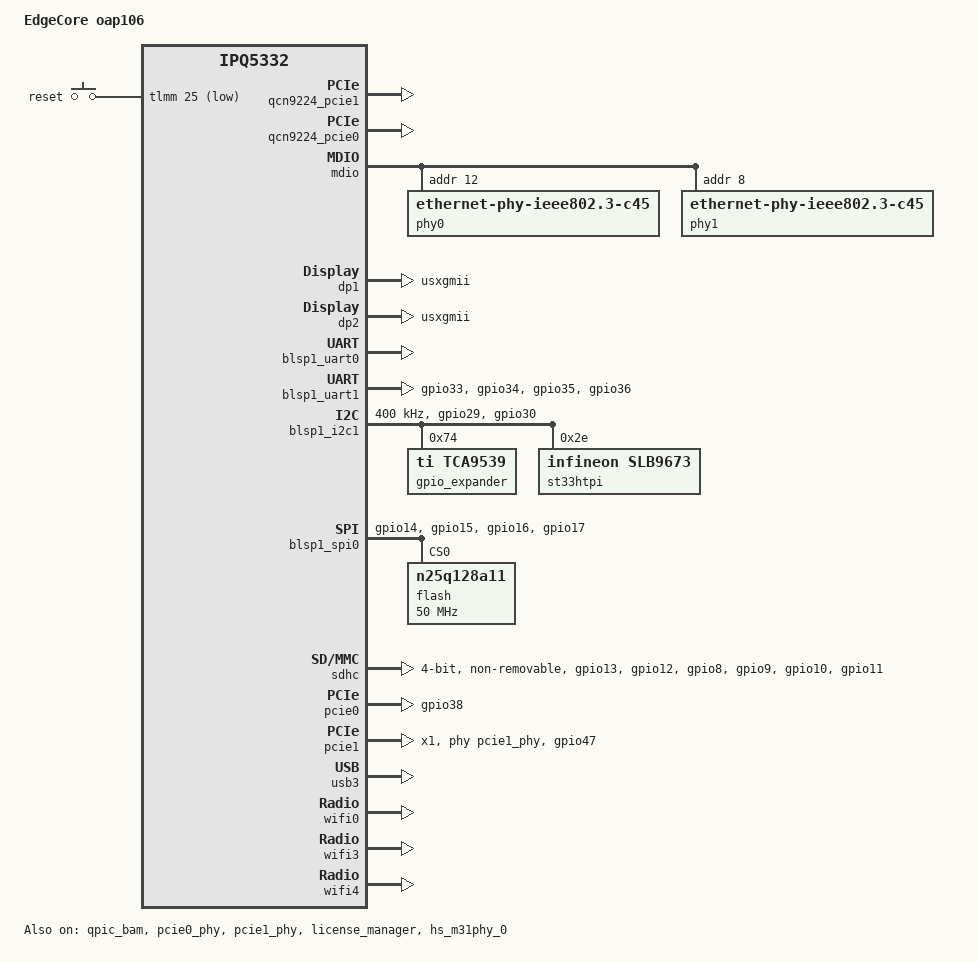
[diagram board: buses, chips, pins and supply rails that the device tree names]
// SPDX-License-Identifier: (GPL-2.0+ OR BSD-3-Clause)
/*
 * IPQ5332 RDP480 board device tree source
 *
 * Copyright (c) 2020-2021 The Linux Foundation. All rights reserved.
 * Copyright (c) 2022-2025 Qualcomm Innovation Center, Inc. All rights reserved.
 */

/dts-v1/;

#include "ipq5332.dtsi"
#include <dt-bindings/gpio/gpio.h>
#include <dt-bindings/input/input.h>
#include <dt-bindings/leds/common.h>


/ {
	model = "EdgeCore oap106";
	compatible = "edgecore,oap106", "qcom,ipq5332-ap-mi01.13", "qcom,ipq5332";

	/*   Layout for IPQ5332 + QCN9224 + QCN9224 + QCN9160
	 * +==========+==============+========================+
	 * |         |              |                         |
	 * |  Region | Start Offset |          Size           |
	 * |         |              |                         |
	 * +---------+--------------+-------------------------+
	 * |   Q6    |              |                         |
	 * |  code/  |  0x4A900000  |          27MB           |
	 * |  data   |              |                         |
	 * +---------+--------------+-------------------------+
	 * | IPQ5332 |              |                         |
	 * |  data   |  0x4C400000  |          21MB           |
	 * +---------+--------------+-------------------------+
	 * | IPQ5332 |              |                         |
	 * | M3 Dump |  0x4D900000  |           1MB           |
	 * +---------+--------------+-------------------------+
	 * | IPQ5332 |              |                         |
	 * |  QDSS   |  0x4DA00000  |           1MB           |
	 * +---------+--------------+-------------------------+
	 * | IPQ5332 |              |                         |
	 * |  CALDB  |  0x4DB00000  |           5MB           |
	 * +---------+--------------+-------------------------+
	 * |QCN6432_1|              |                         |
	 * |  data   |  0x4E000000  |          21MB           |
	 * +---------+--------------+-------------------------+
	 * |QCN6432_1|              |                         |
	 * | M3 Dump |  0x4F500000  |           1MB           |
	 * +---------+--------------+-------------------------+
	 * |QCN6432_1|              |                         |
	 * |  QDSS   |  0x4F600000  |           1MB           |
	 * +---------+--------------+-------------------------+
	 * |QCN6432_1|              |                         |
	 * |  CALDB  |  0x4F700000  |           5MB           |
	 * +---------+--------------+-------------------------+
	 * | QCN9160 |              |                         |
	 * |  data   |  0x4FC00000  |          14MB           |
	 * +---------+--------------+-------------------------+
	 * | QCN9160 |              |                         |
	 * | M3 Dump |  0x50A00000  |           1MB           |
	 * +---------+--------------+-------------------------+
	 * | QCN9160 |              |                         |
	 * |  QDSS   |  0x50B00000  |           1MB           |
	 * +---------+--------------+-------------------------+
	 * | QCN9160 |              |                         |
	 * |  CALDB  |  0x50C00000  |           5MB           |
	 * +---------+--------------+-------------------------+
	 * |         |              |                         |
	 * |   MLO   |  0x51100000  |          18MB           |
	 * +---------+--------------+-------------------------+
	 * |         |              |                         |
	 * |  WKK1   |  0x52300000  |          50MB           |
	 * |         |              |                         |
	 * +---------+--------------+-------------------------+
	 * |         |              |                         |
	 * |  WKK0   |  0x55500000  |          50MB           |
	 * |         |              |                         |
	 * +---------+--------------+-------------------------+
	 * |         |              |                         |
	 * |  MHI0   |    DYNAMIC   |          9MB            |
	 * |         |              |                         |
	 * +---------+--------------+-------------------------+
	 * |         |              |                         |
	 * |  MHI1   |    DYNAMIC   |          9MB            |
	 * |         |              |                         |
	 * +==================================================+
	 * |                                                  |
	 * |                                                  |
	 * |                                                  |
	 * |             Rest of memory for Linux             |
	 * |                                                  |
	 * |                                                  |
	 * |                                                  |
	 * +==================================================+
	 */

	reserved-memory {
		#address-cells = <2>;
		#size-cells = <2>;
		ranges;

		q6_mem_regions: q6_mem_regions@4A900000  {
			no-map;
			reg = <0x0 0x4a900000 0x0 0x6800000>;
		};

		q6_code_data: q6_code_data@4A900000 {
			no-map;
			reg = <0x0 0x4a900000 0x0 0x1B00000>;
		};

		q6_ipq5332_data: q6_ipq5332_data@4C400000 {
			no-map;
			reg = <0x0 0x4C400000 0x0 0x1500000>;
		};

		m3_dump: m3_dump@4D900000 {
			no-map;
			reg = <0x0 0x4D900000 0x0 0x100000>;
		};

		q6_etr_region: q6_etr_dump@4DA00000 {
			no-map;
			reg = <0x0 0x4DA00000 0x0 0x100000>;
		};

		q6_ipq5332_caldb: q6_ipq5332_caldb@4DB00000 {
			no-map;
			reg = <0x0 0x4DB00000 0x0 0x500000>;
		};

		q6_qcn6432_data_1: q6_qcn6432_data_1@4E000000 {
			no-map;
			reg = <0x0 0x4E000000 0x0 0x1500000>;
		};

		m3_dump_qcn6432_1: m3_dump_qcn6432_1@4F500000 {
			no-map;
			reg = <0x0 0x4F500000 0x0 0x100000>;
		};

		q6_qcn6432_etr_1: q6_qcn6432_etr_1@4F600000 {
			no-map;
			reg = <0x0 0x4F600000 0x0 0x100000>;
		};

		q6_qcn6432_caldb_1: q6_qcn6432_caldb_1@4F700000 {
			no-map;
			reg = <0x0 0x4F700000 0x0 0x500000>;
		};

		q6_qcn9160_data_2: q6_qcn9160_data_2@4FC00000 {
			no-map;
			reg = <0x0 0x4FC00000 0x0 0xe00000>;
		};

		m3_dump_qcn9160_2: m3_dump_qcn9160_2@50A00000 {
			no-map;
			reg = <0x0 0x50A00000 0x0 0x100000>;
		};

		q6_qcn9160_etr_2: q6_qcn9160_etr_2@50B00000 {
			no-map;
			reg = <0x0 0x50B00000 0x0 0x100000>;
		};

		q6_qcn9160_caldb_2: q6_qcn9160_caldb_2@50C00000 {
			no-map;
			reg = <0x0 0x50C00000 0x0 0x500000>;
		};

		mlo_global_mem0: mlo_global_mem_0@51100000 {
			no-map;
			reg = <0x0 0x51100000 0x0 0x1200000>;
		};

		qcn9224_pcie1: qcn9224_pcie1@52300000 {
			no-map;
			reg = <0x0 0x52300000 0x0 0x03200000>;
		};

		qcn9224_pcie0: qcn9224_pcie0@55500000 {
			no-map;
			reg = <0x0 0x55500000 0x0 0x03200000>;
		};
		mhi_region0: dma_pool0@0 {
			compatible = "shared-dma-pool";
			no-map;
			size = <0x0 0x00900000>;
                };
		mhi_region1: dma_pool1@1 {
			compatible = "shared-dma-pool";
			no-map;
			size = <0x0 0x00900000>;
                };
	};

	aliases {
		serial0 = &blsp1_uart0;
		serial1 = &blsp1_uart1;
		ethernet0 = "/soc/dp1";
		ethernet1 = "/soc/dp2";
	};

	chosen {
		stdout-path = "serial0";
	};

	soc@0 {
		mdio:mdio@90000 {
			pinctrl-0 = <&mdio1_pins>;
			pinctrl-names = "default";
			/*gpio22 for manhattan reset*/
			phy-reset-gpio = <&tlmm 22 GPIO_ACTIVE_LOW>;
			phyaddr_fixup = <0xC90F018>;
			uniphyaddr_fixup = <0xC90F014>;
			mdio_clk_fixup; /* MDIO clock sequence fix up flag */
			status = "okay";

			phy0: ethernet-phy@0 {
				reg = <12>;
				compatible ="ethernet-phy-ieee802.3-c45";
			};

			phy1: ethernet-phy@1 {
				reg = <8>;
				compatible ="ethernet-phy-ieee802.3-c45";
			};

		};

		gpio_keys {
			compatible = "gpio-keys";
			pinctrl-0 = <&button_pins>;
			pinctrl-names = "default";
			status = "okay";

			button@1 {
				label = "reset";
				linux,code = <KEY_RESTART>;
				gpios = <&tlmm 25 GPIO_ACTIVE_LOW>;
				linux,input-type = <1>;
				debounce-interval = <60>;
			};
		};

		ess-instance {
			num_devices = <0x1>;

			ess-switch@3a000000 {
				switch_cpu_bmp = <0x1>;  /* cpu port bitmap */
				switch_lan_bmp = <0x2>; /* lan port bitmap */
				switch_wan_bmp = <0x4>; /* wan port bitmap */
				switch_mac_mode = <0xd>; /* mac mode for uniphy instance0*/
				switch_mac_mode1 = <0xd>; /* mac mode for uniphy instance1*/
				switch_mac_mode2 = <0xff>; /* mac mode for uniphy instance2*/

				qcom,port_phyinfo {
					port@0 {
						port_id = <1>;
						phy_address = <12>;
						ethernet-phy-ieee802.3-c45;
					};
					port@1 {
						port_id = <2>;
						phy_address = <8>;
						ethernet-phy-ieee802.3-c45;
					};
				};
			};
		};

		dp1 {
			device_type = "network";
			compatible = "qcom,nss-dp";
			qcom,id = <2>;
			reg = <0x3a504000 0x4000>;
			qcom,mactype = <1>;
			local-mac-address = [000000000000];
			mdio-bus = <&mdio>;
			qcom,phy-mdio-addr = <8>;
			qcom,link-poll = <1>;
			phy-mode = "usxgmii";
		};

		dp2 {
			device_type = "network";
			compatible = "qcom,nss-dp";
			qcom,id = <1>;
			reg = <0x3a500000 0x4000>;
			qcom,mactype = <1>;
			local-mac-address = [000000000000];
			mdio-bus = <&mdio>;
			qcom,phy-mdio-addr = <12>;
			qcom,link-poll = <1>;
			phy-mode = "usxgmii";
		};

		/* EDMA host driver configuration for the board */
		edma@3ab00000 {
			qcom,txdesc-ring-start = <4>;		/* Tx desc ring start ID */
			qcom,txdesc-rings = <12>;		/* Total number of Tx desc rings to be provisioned */
			qcom,mht-txdesc-rings = <8>;            /* Extra Tx desc rings to be provisioned for MHT SW ports */
			qcom,txcmpl-ring-start = <4>;		/* Tx complete ring start ID */
			qcom,txcmpl-rings = <12>;		/* Total number of Tx complete rings to be provisioned */
			qcom,mht-txcmpl-rings = <8>;            /* Extra Tx complete rings to be provisioned for mht sw ports. */
			qcom,rxfill-ring-start = <4>;		/* Rx fill ring start ID */
			qcom,rxfill-rings = <4>;		/* Total number of Rx fill rings to be provisioned */
			qcom,rxdesc-ring-start = <12>;		/* Rx desc ring start ID */
			qcom,rxdesc-rings = <4>;		/* Total number of Rx desc rings to be provisioned */
			qcom,rx-page-mode = <0>;		/* Rx fill ring page mode */
			qcom,tx-map-priority-level = <1>;	/* Tx priority level per port */
			qcom,rx-map-priority-level = <1>;	/* Rx priority level per core */
			qcom,ppeds-num = <2>;			/* Number of PPEDS nodes */
			/* PPE-DS node format: <Rx-fill Tx-cmpl Rx Tx Queue-base Queue-count> */
			qcom,ppeds-map = <1 1 1 1 32 8>,	/* PPEDS Node#0 ring and queue map */
					<2 2 2 2 40 8>;		/* PPEDS Node#1 ring and queue map */
			qcom,txdesc-map = <8 9 10 11>,		/* Port0 per-core Tx ring map */
					<12 13 14 15>,        /* MHT-Port1 per-core Tx ring map */
					<4 5 6 7>,            /* MHT-Port2 per-core Tx ring map/packets from  vp*/
					<16 17 18 19>,        /* MHT-Port3 per-core Tx ring map */
					<20 21 22 23>;        /* MHT-Port4 per-core Tx ring map */
			qcom,txdesc-fc-grp-map = <1 2 3 4 5>;   /* Per GMAC flow control group map */
			qcom,rxfill-map = <4 5 6 7>;		/* Per-core Rx fill ring map */
			qcom,rxdesc-map = <12 13 14 15>;	/* Per-core Rx desc ring map */
			qcom,rx-queue-start = <0>;		/* Rx queue start */
			qcom,rx-ring-queue-map = <0 8 16 24>,	/* Priority 0 queues per-core Rx ring map */
						<1 9 17 25>,	/* Priority 1 queues per-core Rx ring map */
						<2 10 18 26>,	/* Priority 2 queues per-core Rx ring map */
						<3 11 19 27>,	/* Priority 3 queues per-core Rx ring map */
						<4 12 20 28>,	/* Priority 4 queues per-core Rx ring map */
						<5 13 21 29>,	/* Priority 5 queues per-core Rx ring map */
						<6 14 22 30>,	/* Priority 6 queues per-core Rx ring map */
						<7 15 23 31>;	/* Priority 7 queues per-core Rx ring map */
			interrupts = <0 163 4>,			/* Tx complete ring id #4 IRQ info */
				   <0 164 4>,			/* Tx complete ring id #5 IRQ info */
				   <0 165 4>,			/* Tx complete ring id #6 IRQ info */
				   <0 166 4>,			/* Tx complete ring id #7 IRQ info */
				   <0 167 4>,			/* Tx complete ring id #8 IRQ info */
				   <0 168 4>,			/* Tx complete ring id #9 IRQ info */
				   <0 169 4>,			/* Tx complete ring id #10 IRQ info */
				   <0 170 4>,			/* Tx complete ring id #11 IRQ info */
				   <0 171 4>,			/* Tx complete ring id #12 IRQ info */
				   <0 172 4>,			/* Tx complete ring id #13 IRQ info */
				   <0 173 4>,			/* Tx complete ring id #14 IRQ info */
				   <0 174 4>,			/* Tx complete ring id #15 IRQ info */
				   <0 139 4>,			/* Rx desc ring id #12 IRQ info */
				   <0 140 4>,			/* Rx desc ring id #13 IRQ info */
				   <0 141 4>,			/* Rx desc ring id #14 IRQ info */
				   <0 142 4>,			/* Rx desc ring id #15 IRQ info */
				   <0 191 4>,			/* Misc error IRQ info */
				   <0 155 4>,			/* RxFill ring id #4 IRQ info */
				   <0 156 4>,			/* RxFill ring id #5 IRQ info */
				   <0 157 4>,			/* RxFill ring id #6 IRQ info */
				   <0 158 4>,			/* RxFill ring id #7 IRQ info */
				<0 160 4>,			/* PPEDS Node #1(TxComp ring id #1) TxComplete IRQ info */
				<0 128 4>,			/* PPEDS Node #1(Rx Desc ring id #1) Rx Desc IRQ info */
				<0 152 4>,			/* PPEDS Node #1(RxFill Desc ring id #1) Rx Fill IRQ info */
				<0 161 4>,			/* PPEDS Node #2(TxComp ring id #2) TxComplete IRQ info */
				<0 129 4>,			/* PPEDS Node #2(Rx Desc ring id #2) Rx Desc IRQ info */
				<0 153 4>,                      /* PPEDS Node #2(RxFill Desc ring id #2) Rx Fill IRQ info */
				<0 175 4>,                   /* MHT port Tx complete ring id #16 IRQ info */
				<0 176 4>,                   /* MHT port Tx complete ring id #17 IRQ info */
				<0 177 4>,                   /* MHT port Tx complete ring id #18 IRQ info */
				<0 178 4>,                   /* MHT port Tx complete ring id #19 IRQ info */
				<0 179 4>,                   /* MHT port Tx complete ring id #20 IRQ info */
				<0 180 4>,                   /* MHT port Tx complete ring id #21 IRQ info */
				<0 181 4>,                   /* MHT port Tx complete ring id #22 IRQ info */
				<0 182 4>;                   /* MHT port Tx complete ring id #23 IRQ info */
		};

		wsi: wsi {
			id = <0>;
			num_chip = <3>;
			status = "okay";
			chip_info = <0 2 1 2>,
				    <1 2 0 2>,
				    <2 2 0 1>;
		};

		q6v5_wcss: remoteproc@d100000 {
			boot-args = <0x1 0x5 0x3 0x0 0x26 0x2 0x0>,
					<0x1 0x5 0x4 0x2 0x2C 0x0 0x0>;
			memory-region = <&q6_mem_regions>,
					<&mlo_global_mem0>;

			upd-firmware-names = "IPQ5332/q6_fw1.mdt",
					     "IPQ5332/q6_fw3.mdt";
			/delete-node/ remoteproc_pd1;
			/delete-node/ remoteproc_pd3;

			q6_wcss_pd1: remoteproc_pd1 {
				compatible = "qcom,ipq5332-wcss-ahb-mpd";
				firmware = "IPQ5332/q6_fw1.mdt";
				m3_firmware = "IPQ5332/iu_fw.mdt";
				interrupts-extended = <&wcss_smp2p_in 8 0>,
						<&wcss_smp2p_in 9 0>,
						<&wcss_smp2p_in 12 0>,
						<&wcss_smp2p_in 11 0>;
				interrupt-names = "fatal",
						"ready",
						"spawn-ack",
						"stop-ack";

				qcom,smem-states = <&wcss_smp2p_out 8>,
						<&wcss_smp2p_out 9>,
						<&wcss_smp2p_out 10>;
				qcom,smem-state-names = "shutdown",
							"stop",
							"spawn";
				memory-region = <&q6_ipq5332_data>,
						<&m3_dump>,
						<&q6_etr_region>,
						<&q6_ipq5332_caldb>,
						<&mlo_global_mem0>;
			};

			q6_wcss_pd3: remoteproc_pd3 {
				compatible = "qcom,ipq5332-wcss-pcie-mpd";
				firmware = "IPQ5332/q6_fw3.mdt";
				m3_firmware = "qcn9160/m3_fw.mdt";
				interrupts-extended = <&wcss_smp2p_in 24 0>,
						<&wcss_smp2p_in 25 0>,
						<&wcss_smp2p_in 28 0>,
						<&wcss_smp2p_in 27 0>;
				interrupt-names = "fatal",
						"ready",
						"spawn-ack",
						"stop-ack";

				qcom,smem-states = <&wcss_smp2p_out 24>,
						<&wcss_smp2p_out 25>,
						<&wcss_smp2p_out 26>;
				qcom,smem-state-names = "shutdown",
							"stop",
							"spawn";
				memory-region = <&q6_qcn9160_data_2>,
						<&m3_dump_qcn9160_2>,
						<&q6_qcn9160_etr_2>,
						<&q6_qcn9160_caldb_2>;
				status = "ok";
			};
		};
	};
};

&blsp1_uart0 {
	pinctrl-0 = <&serial_0_pins>;
	pinctrl-names = "default";
	status = "okay";
};

&blsp1_uart1 {
        pinctrl-0 = <&serial_1_pins>;
        pinctrl-names = "default";
        status = "okay";
};

&blsp1_i2c1 {
	clock-frequency  = <400000>;
	pinctrl-0 = <&i2c_1_pins>;
	pinctrl-names = "default";
	status = "okay";

	gpio_expander: gpio@74 {
		compatible = "ti,tca9539";
		reg = <0x74>;
		gpio-controller;
		#gpio-cells = <2>;
		status = "okay";

		gpio-export {
			compatible = "gpio-export";
			#size-cells = <0>;

			led_o {
				gpios = <&gpio_expander 0 GPIO_ACTIVE_HIGH>; // P00
				gpio-export,name = "led_o";
				gpio-export,direction = "out";
				gpio-export,output = <1>;
			};

			led_g {
				gpios = <&gpio_expander 1 GPIO_ACTIVE_HIGH>; // P01
				gpio-export,name = "led_g";
				gpio-export,direction = "out";
				gpio-export,output = <1>;
			};

			led_b {
				gpios = <&gpio_expander 2 GPIO_ACTIVE_HIGH>; // P02
				gpio-export,name = "led_b";
				gpio-export,direction = "out";
				gpio-export,output = <1>;
			};

			w_disable1 {
				gpios = <&gpio_expander 3 GPIO_ACTIVE_HIGH>; // P03
				gpio-export,name = "w_disable1_l";
				gpio-export,direction = "out";
				gpio-export,output = <1>;
			};

			w_disable2 {
				gpios = <&gpio_expander 4 GPIO_ACTIVE_HIGH>; // P04
				gpio-export,name = "w_disable2_l";
				gpio-export,direction = "out";
				gpio-export,output = <1>;
			};

			heater_1 {
				gpios = <&gpio_expander 7 GPIO_ACTIVE_HIGH>; // P07
				gpio-export,name = "heater_1";
				gpio-export,direction = "out";
				gpio-export,output = <0>;
			};

			heater_2 {
				gpios = <&gpio_expander 8 GPIO_ACTIVE_HIGH>; // P10
				gpio-export,name = "heater_2";
				gpio-export,direction = "out";
				gpio-export,output = <0>;
			};

			tpm_int {
				gpios = <&gpio_expander 9 GPIO_ACTIVE_LOW>; // P11
				gpio-export,name = "tpm_int_l";
				gpio-export,direction = "in";
			};

			tpm_rst {
				gpios = <&gpio_expander 10 GPIO_ACTIVE_LOW>; // P12
				gpio-export,name = "tpm_rst_l";
				gpio-export,direction = "out";
				gpio-export,output = <1>;
			};

			gps_rst {
				gpios = <&gpio_expander 11 GPIO_ACTIVE_LOW>; // P13
				gpio-export,name = "gps_rst_l";
				gpio-export,direction = "out";
				gpio-export,output = <1>;
			};

			ble_rst {
				gpios = <&gpio_expander 12 GPIO_ACTIVE_LOW>; // P14
				gpio-export,name = "ble_rst_l";
				gpio-export,direction = "out";
				gpio-export,output = <1>;
			};

			ble_backdoor {
				gpios = <&gpio_expander 13 GPIO_ACTIVE_HIGH>; // P15
				gpio-export,name = "ble_backdoor";
				gpio-export,direction = "in";
			};

			m2_coex_txd {
				gpios = <&gpio_expander 14 GPIO_ACTIVE_HIGH>; // P16
				gpio-export,name = "m2_coex_txd";
				gpio-export,direction = "out";
				gpio-export,output = <1>;
			};

			m2_coex_rxd {
				gpios = <&gpio_expander 15 GPIO_ACTIVE_HIGH>; // P17
				gpio-export,name = "m2_coex_rxd";
				gpio-export,direction = "in";
			};

		};
	};

	st33htpi: tpm@2e {
		compatible = "infineon,slb9673";
		reg = <0x2e>;
		status = "okay";
	};
};

&blsp1_spi0 {
	pinctrl-0 = <&spi_0_data_clk_pins &spi_0_cs_pins>;
	pinctrl-names = "default";
	status = "okay";

	flash@0 {
		compatible = "n25q128a11", "micron,n25q128a11", "jedec,spi-nor";
		reg = <0>;
		#address-cells = <1>;
		#size-cells = <1>;
		spi-max-frequency = <50000000>;
	};
};

&sdhc {
	bus-width = <4>;
	max-frequency = <192000000>;
	mmc-ddr-1_8v;
	mmc-hs200-1_8v;
	non-removable;
	pinctrl-0 = <&sdc_default_state>;
	pinctrl-names = "default";
	status = "okay";
};

&sleep_clk {
	clock-frequency = <32000>;
};

&xo {
	clock-frequency = <24000000>;
};

&qpic_bam {
	status = "okay";
};

&qpic_nand {
	pinctrl-0 = <&qspi_default_state>;
	pinctrl-names = "default";
	status = "disabled";

	nandcs@0 {
		reg = <0>;
		#address-cells = <1>;
		#size-cells = <1>;

		nand-ecc-strength = <8>;
		nand-ecc-step-size = <512>;
		nand-bus-width = <8>;
	};
};

&pcie0_phy {
	status = "okay";
};

&pcie1_phy {
	status = "okay";
};

&pcie0 {
	pinctrl-0 = <&pcie0_default_state>;
	pinctrl-names = "default";
	perst-gpios = <&tlmm 38 GPIO_ACTIVE_LOW>;
	status = "okay";

	pcie0_rp {
		reg = <0 0 0 0 0>;

		qcom,mhi@2 {
			reg = <0 0 0 0 0>;
			boot-args = <0x2 0x4 0x34 0x3 0x0 0x0     /* MX Rail, GPIO52, Drive strength 0x3 */
					0x4 0x4 0x18 0x3 0x0 0x0  /* RFA1p2 Rail, GPIO24, Drive strength 0x3 */
					0x0 0x4 0x0 0x0 0x0 0x0>; /* End of arguments */
			memory-region = <&qcn9224_pcie0>, <&mhi_region0>;
			qcom,board_id = <0x12>;
			qcom,wsi = <&wsi>;
			qcom,wsi_index = <1>;
		};
	};
};

&pcie1 {
	pinctrl-0 = <&pcie1_default_state>;
	pinctrl-names = "default";
	phys = <&pcie1_phy>;
	num-lanes = <1>;
	perst-gpios = <&tlmm 47 GPIO_ACTIVE_LOW>;
	status = "okay";

	pcie1_rp {
		reg = <0 0 0 0 0>;

		qcom,mhi@1 {
			reg = <0 0 0 0 0>;
			memory-region = <&qcn9224_pcie1>, <&mhi_region1>;
			qcom,board_id = <0x4>;
			qcom,wsi = <&wsi>;
			qcom,wsi_index = <2>;
		};
	};
};

&qcn9224_pcie0 {
	status = "okay";
};

&qcn9224_pcie1 {
	status = "okay";
};

/* PINCTRL */

&tlmm {
	qspi_default_state: qspi-default-state {
		qspi_clock {
			pins = "gpio13";
			function = "qspi_clk";
			drive-strength = <8>;
			bias-pull-down;
		};

		qspi_cs {
			pins = "gpio12";
			function = "qspi_cs";
			drive-strength = <8>;
			bias-pull-up;
		};

		qspi_data {
			pins = "gpio8", "gpio9", "gpio10", "gpio11";
			function = "qspi_data";
			drive-strength = <8>;
			bias-pull-down;
		};
	};

	serial_1_pins: serial1-pinmux {
		pins = "gpio33", "gpio34", "gpio35", "gpio36";
		function = "blsp1_uart2";
		drive-strength = <8>;
		bias-pull-up;
	};

	i2c_1_pins: i2c-1-state {
		pins = "gpio29", "gpio30";
		function = "blsp1_i2c0";
		drive-strength = <8>;
		bias-pull-up;
	};

	pcie0_default_state: pcie0-default-state {
		pins = "gpio38";
		function = "gpio";
		drive-strength = <8>;
		bias-pull-up;
		output-low;
	};

	pcie1_default_state: pcie1-default-state {
		pins = "gpio47";
		function = "gpio";
		drive-strength = <8>;
		bias-pull-up;
		output-low;
	};

	button_pins: button-state {
		pins = "gpio25";
		function = "gpio";
		drive-strength = <8>;
		bias-pull-up;
	};

	sdc_default_state: sdc-default-state {
		clk-pins {
			pins = "gpio13";
			function = "sdc_clk";
			drive-strength = <8>;
			bias-disable;
		};

		cmd-pins {
			pins = "gpio12";
			function = "sdc_cmd";
			drive-strength = <8>;
			bias-pull-up;
		};

		data-pins {
			pins = "gpio8", "gpio9", "gpio10", "gpio11";
			function = "sdc_data";
			drive-strength = <8>;
			bias-pull-up;
		};
	};

	spi_0_data_clk_pins: spi-0-data-clk-state {
		pins = "gpio14", "gpio15", "gpio16";
		function = "blsp0_spi";
		drive-strength = <2>;
		bias-pull-down;
	};

	spi_0_cs_pins: spi-0-cs-state {
		pins = "gpio17";
		function = "blsp0_spi";
		drive-strength = <2>;
		bias-pull-up;
	};

};

&license_manager {
	status = "okay";
};

&usb3 {
	qcom,select-utmi-as-pipe-clk;
	status = "okay";

	dwc3@8a00000 {
		phys = <&hs_m31phy_0>;
		phy-names = "usb2-phy";
	};
};

&hs_m31phy_0 {
	status = "okay";
};

&wifi0 {
	qcom,multipd_arch;
	qcom,rproc = <&q6_wcss_pd1>;
	qcom,rproc_rpd = <&q6v5_wcss>;
	qcom,userpd-subsys-name = "q6v5_wcss_userpd1";
	qcom,tgt-mem-mode = <0>;
	qcom,bdf-addr = <0x4C400000 0x4C400000 0x4C400000 0x0 0x0 0x0>;
	qcom,caldb-addr = <0x4DB00000 0x4DB00000 0x4DB00000 0x0 0x0 0x0>;
	qcom,caldb-size = <0x500000>;
	qcom,board_id = <0x13>;
	mem-region = <&q6_ipq5332_data>;
	memory-region = <&q6_ipq5332_data>;
	qcom,wsi = <&wsi>;
	qcom,wsi_index = <0>;
	status = "ok";
};

&qcn9224_pcie0 {
	status = "ok";
};

&qcn9224_pcie1 {
	status = "ok";
};

&mhi_region1 {
	status = "ok";
};

&wifi3 {
	hremote_node = <&qcn9224_pcie0>;
	/* QCN9224 radio 5G
	 * +=========+==============+=========+
	 * |  Region | Start Offset |   Size  |
	 * +---------+--------------+---------+
	 * | HREMOTE |  0x55500000  |   28MB  |
	 * +---------+--------------+---------+
	 * | M3 Dump |  0x57100000  |   1MB   |
	 * +---------+--------------+---------+
	 * |   ETR   |  0x57200000  |   1MB   |
	 * +---------+--------------+---------+
	 * |  Caldb  |  0x57300000  |   8MB   |
	 * +---------+--------------+---------+
	 * |Pageable |  0x57B00000  |  12MB   |
	 * +==================================+
	 */
	base-addr = <0x55500000>;
	m3-dump-addr = <0x57100000>;
	etr-addr = <0x57200000>;
	caldb-addr = <0x57300000>;
	pageable-addr = <0x57B00000>;
	hremote-size = <0x1C00000>;
	pageable-size = <0xC00000>;
	tgt-mem-mode = <0x0>;
	board_id = <0x2>;
	status = "ok";
};

&wifi4 {
	hremote_node = <&qcn9224_pcie1>;
	/* QCN9224 radio 6G
	 * +=========+==============+=========+
	 * |  Region | Start Offset |   Size  |
	 * +---------+--------------+---------+
	 * | HREMOTE |  0x52300000  |   28MB  |
	 * +---------+--------------+---------+
	 * | M3 Dump |  0x53F00000  |   1MB   |
	 * +---------+--------------+---------+
	 * |   ETR   |  0x54000000  |   1MB   |
	 * +---------+--------------+---------+
	 * |  Caldb  |  0x54100000  |   8MB   |
	 * +---------+--------------+---------+
	 * |Pageable |  0x54900000  |  12MB   |
	 * +==================================+
	 */
	base-addr = <0x52300000>;
	m3-dump-addr = <0x53F00000>;
	etr-addr = <0x54000000>;
	caldb-addr = <0x54100000>;
	pageable-addr = <0x54900000>;
	hremote-size = <0x1C00000>;
	pageable-size = <0xC00000>;
	tgt-mem-mode = <0x0>;
	node_id=<0x1>;
	board_id = <0x4>;
	status = "ok";
};

//&wifi5 {
//	qcom,multipd_arch;
//	qcom,userpd-subsys-name = "q6v5_wcss_userpd3";
//	qcom,rproc = <&q6_wcss_pd3>;
//	qcom,tgt-mem-mode = <0>;
//	qcom,board_id = <0x101>;
//	qcom,bdf-addr = <0x4FC00000 0x4FC00000 0x4FC00000 0x0 0x0 0x0>;
//	qcom,caldb-addr = <0x50C00000 0x50C00000 0x50C00000 0x0 0x0 0x0>;
//	qcom,caldb-size = <0x500000>;
//	m3-dump-addr = <0x50A00000>;
//	mem-region = <&q6_qcn9160_data_2>;
//	memory-region = <&q6_qcn9160_data_2>;
//	qcom,pci_slot_id = <2>;
//	status = "ok";
//};
